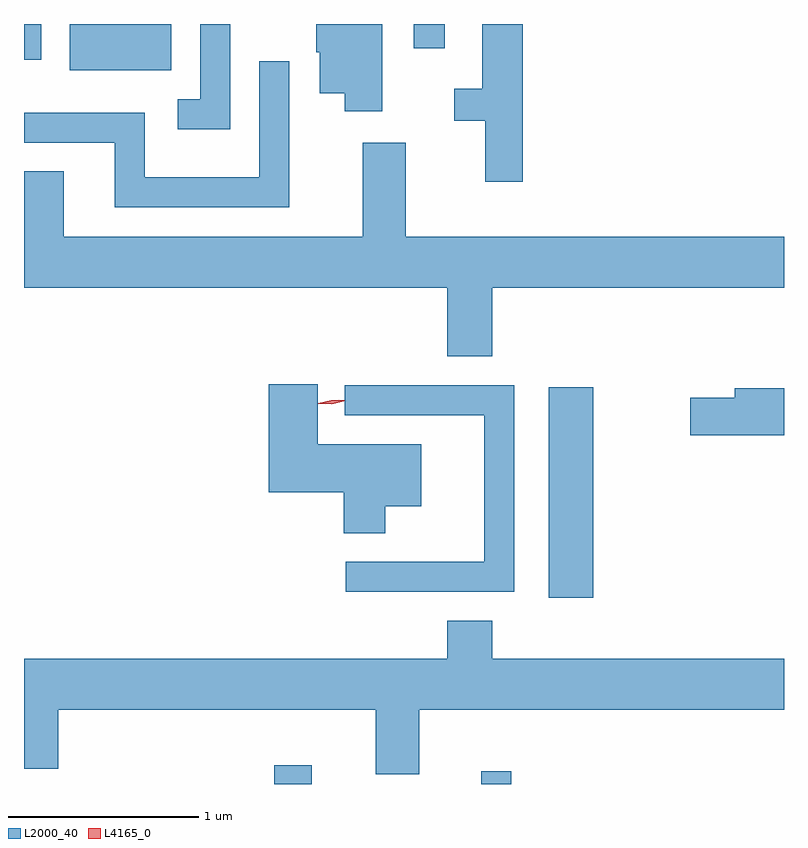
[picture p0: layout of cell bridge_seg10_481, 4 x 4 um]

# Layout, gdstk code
import gdstk
lib = gdstk.Library(unit=1e-6, precision=1e-09)
def R(c, l, rs):  # rectangles x0, y0, x1, y1
    for r in rs: c.add(gdstk.rectangle(r[:2], r[2:], *l))
def P(c, l, *ps):  # polygons
    for p in ps: c.add(gdstk.Polygon(p, *l))
L2000_40 = (2000, 40)
L4165_0 = (4165, 0)

bridge_seg10_481 = lib.new_cell('bridge_seg10_481')
R(bridge_seg10_481, L2000_40, [(879.816,2169.025,880.014,2169.124), (880.906,2169.025,881.064,2169.093), (881.261,2170.006,881.494,2171.114), (878.741,2172.781,879.274,2173.025), (878.499,2172.836,878.589,2173.025), (880.551,2172.898,880.714,2173.025)])
P(bridge_seg10_481, L2000_40, [(880.384,2173.025),(880.036,2173.025),(880.036,2172.876),(880.056,2172.876),(880.056,2172.661),(880.186,2172.661),(880.186,2172.566),(880.384,2172.566)],
  [(879.584,2173.025),(879.426,2173.025),(879.426,2172.629),(879.308,2172.629),(879.308,2172.471),(879.584,2172.471)],
  [(881.124,2173.025),(880.911,2173.025),(880.911,2172.684),(880.763,2172.684),(880.763,2172.516),(880.926,2172.516),(880.926,2172.196),(881.124,2172.196)],
  [(879.894,2172.828),(879.736,2172.828),(879.736,2172.219),(879.134,2172.219),(879.134,2172.559),(878.499,2172.559),(878.499,2172.401),(878.976,2172.401),(878.976,2172.061),(879.894,2172.061)],
  [(880.964,2171.636),(882.499,2171.636),(882.499,2171.904),(880.509,2171.904),(880.509,2172.399),(880.281,2172.399),(880.281,2171.904),(878.709,2171.904),(878.709,2172.249),(878.499,2172.249),(878.499,2171.636),(880.726,2171.636),(880.726,2171.276),(880.964,2171.276)],
  [(880.399,2170.486),(880.589,2170.486),(880.589,2170.814),(880.044,2170.814),(880.044,2171.129),(879.786,2171.129),(879.786,2170.561),(880.181,2170.561),(880.181,2170.346),(880.399,2170.346)],
  [(881.079,2171.124),(880.188,2171.124),(880.188,2170.966),(880.921,2170.966),(880.921,2170.194),(880.193,2170.194),(880.193,2170.036),(881.079,2170.036)],
  [(882.499,2171.109),(882.241,2171.109),(882.241,2171.059),(882.006,2171.059),(882.006,2170.861),(882.499,2170.861)],
  [(880.579,2169.416),(882.499,2169.416),(882.499,2169.684),(880.964,2169.684),(880.964,2169.884),(880.726,2169.884),(880.726,2169.684),(878.499,2169.684),(878.499,2169.106),(878.679,2169.106),(878.679,2169.416),(880.351,2169.416),(880.351,2169.076),(880.579,2169.076)])
P(bridge_seg10_481, L4165_0, [(880.118,2171.026),(880.048,2171.027),(880.048,2171.028),(880.048,2171.028),(880.116,2171.046),(880.185,2171.044),(880.186,2171.043),(880.185,2171.043)],
  [(880.118,2171.024),(880.051,2171.028),(880.05,2171.028),(880.051,2171.028),(880.115,2171.044),(880.182,2171.041),(880.182,2171.041),(880.182,2171.04)])

lib.write_gds('bridge_seg10_481.gds')
